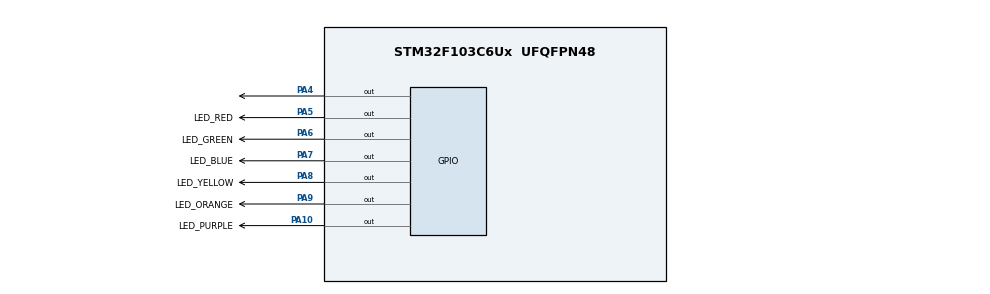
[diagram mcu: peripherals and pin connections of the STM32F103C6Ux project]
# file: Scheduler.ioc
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Mcu.Family=STM32F1
Mcu.Name=STM32F103C6Ux
Mcu.Package=UFQFPN48
NVIC.PriorityGroup=NVIC_PRIORITYGROUP_4
NVIC.TIM2_IRQn=true\:0\:0\:false\:false\:true\:true\:true
PA10.GPIO_Label=LED_PURPLE
PA10.Signal=GPIO_Output
PA4.Signal=GPIO_Output
PA5.GPIO_Label=LED_RED
PA5.Signal=GPIO_Output
PA6.GPIO_Label=LED_GREEN
PA6.Signal=GPIO_Output
PA7.GPIO_Label=LED_BLUE
PA7.Signal=GPIO_Output
PA8.GPIO_Label=LED_YELLOW
PA8.Signal=GPIO_Output
PA9.GPIO_Label=LED_ORANGE
PA9.Signal=GPIO_Output
ProjectManager.HeapSize=0x200
ProjectManager.StackSize=0x400
ProjectManager.TargetToolchain=STM32CubeIDE
RCC.APB1Freq_Value=8000000
RCC.APB2Freq_Value=8000000
TIM2.Period=9
TIM2.Prescaler=7999
VP_SYS_VS_ND.Mode=No_Debug
VP_TIM2_VS_ClockSourceINT.Mode=Internal
board=custom

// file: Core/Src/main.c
/* USER CODE BEGIN Header */
/**
  ******************************************************************************
  * @file           : main.c
  * @brief          : Main program body
  ******************************************************************************
  * @attention
  *
  * <h2><center>&copy; Copyright (c) 2025 STMicroelectronics.
  * All rights reserved.</center></h2>
  *
  * This software component is licensed by ST under BSD 3-Clause license,
  * the "License"; You may not use this file except in compliance with the
  * License. You may obtain a copy of the License at:
  *                        opensource.org/licenses/BSD-3-Clause
  *
  ******************************************************************************
  */
/* USER CODE END Header */
#include "main.h"

/* USER CODE BEGIN Includes */
#include "scheduler.h"
/* USER CODE END Includes */

TIM_HandleTypeDef htim2;

void SystemClock_Config(void);
static void MX_GPIO_Init(void);
static void MX_TIM2_Init(void);

/* USER CODE BEGIN 0 */
void led1test(){
	HAL_GPIO_TogglePin(LED_RED_GPIO_Port, LED_RED_Pin);
}
void led2test(){
	HAL_GPIO_TogglePin(LED_GREEN_GPIO_Port, LED_GREEN_Pin);
}
void led3test(){
	HAL_GPIO_TogglePin(LED_BLUE_GPIO_Port, LED_BLUE_Pin);
}
void led4test(){
	HAL_GPIO_TogglePin(LED_YELLOW_GPIO_Port, LED_YELLOW_Pin);
}
void led5test(){
	HAL_GPIO_TogglePin(LED_ORANGE_GPIO_Port, LED_ORANGE_Pin);
}
void led6test(){
	HAL_GPIO_TogglePin(LED_PURPLE_GPIO_Port, LED_PURPLE_Pin);
}
/* USER CODE END 0 */

int main(void)
{

  /* MCU Configuration--------------------------------------------------------*/

  /* Reset of all peripherals, Initializes the Flash interface and the Systick. */
  HAL_Init();

  /* Configure the system clock */
  SystemClock_Config();

  /* Initialize all configured peripherals */
  MX_GPIO_Init();
  MX_TIM2_Init();
  /* USER CODE BEGIN 2 */
  HAL_TIM_Base_Start_IT(&htim2);
  /* USER CODE END 2 */

  /* Infinite loop */
  /* USER CODE BEGIN WHILE */
  SCH_Add_Task(led1test, 0, 100);
  SCH_Add_Task(led2test, 0, 500);
  SCH_Add_Task(led3test, 100, 1000);
  SCH_Add_Task(led4test, 200, 1500);
  SCH_Add_Task(led5test, 300, 2000);
  SCH_Add_Task(led6test, 400, 2500);

  while (1)
  {
	  SCH_Dispatch_Tasks();
    /* USER CODE END WHILE */

  }
}

void SystemClock_Config(void)
{
  RCC_OscInitTypeDef RCC_OscInitStruct = {0};
  RCC_ClkInitTypeDef RCC_ClkInitStruct = {0};

  /** Initializes the RCC Oscillators according to the specified parameters
  * in the RCC_OscInitTypeDef structure.
  */
  RCC_OscInitStruct.OscillatorType = RCC_OSCILLATORTYPE_HSI;
  RCC_OscInitStruct.HSIState = RCC_HSI_ON;
  RCC_OscInitStruct.HSICalibrationValue = RCC_HSICALIBRATION_DEFAULT;
  RCC_OscInitStruct.PLL.PLLState = RCC_PLL_NONE;
  if (HAL_RCC_OscConfig(&RCC_OscInitStruct) != HAL_OK)
  {
    Error_Handler();
  }
  /** Initializes the CPU, AHB and APB buses clocks
  */
  RCC_ClkInitStruct.ClockType = RCC_CLOCKTYPE_HCLK|RCC_CLOCKTYPE_SYSCLK
                              |RCC_CLOCKTYPE_PCLK1|RCC_CLOCKTYPE_PCLK2;
  RCC_ClkInitStruct.SYSCLKSource = RCC_SYSCLKSOURCE_HSI;
  RCC_ClkInitStruct.AHBCLKDivider = RCC_SYSCLK_DIV1;
  RCC_ClkInitStruct.APB1CLKDivider = RCC_HCLK_DIV1;
  RCC_ClkInitStruct.APB2CLKDivider = RCC_HCLK_DIV1;

  if (HAL_RCC_ClockConfig(&RCC_ClkInitStruct, FLASH_LATENCY_0) != HAL_OK)
  {
    Error_Handler();
  }
}

static void MX_TIM2_Init(void)
{

  TIM_ClockConfigTypeDef sClockSourceConfig = {0};
  TIM_MasterConfigTypeDef sMasterConfig = {0};

  htim2.Instance = TIM2;
  htim2.Init.Prescaler = 7999;
  htim2.Init.CounterMode = TIM_COUNTERMODE_UP;
  htim2.Init.Period = 9;
  htim2.Init.ClockDivision = TIM_CLOCKDIVISION_DIV1;
  htim2.Init.AutoReloadPreload = TIM_AUTORELOAD_PRELOAD_DISABLE;
  if (HAL_TIM_Base_Init(&htim2) != HAL_OK)
  {
    Error_Handler();
  }
  sClockSourceConfig.ClockSource = TIM_CLOCKSOURCE_INTERNAL;
  if (HAL_TIM_ConfigClockSource(&htim2, &sClockSourceConfig) != HAL_OK)
  {
    Error_Handler();
  }
  sMasterConfig.MasterOutputTrigger = TIM_TRGO_RESET;
  sMasterConfig.MasterSlaveMode = TIM_MASTERSLAVEMODE_DISABLE;
  if (HAL_TIMEx_MasterConfigSynchronization(&htim2, &sMasterConfig) != HAL_OK)
  {
    Error_Handler();
  }

}

static void MX_GPIO_Init(void)
{
  GPIO_InitTypeDef GPIO_InitStruct = {0};

  /* GPIO Ports Clock Enable */
  __HAL_RCC_GPIOA_CLK_ENABLE();

  /*Configure GPIO pin Output Level */
  HAL_GPIO_WritePin(GPIOA, GPIO_PIN_4|LED_RED_Pin|LED_GREEN_Pin|LED_BLUE_Pin
                          |LED_YELLOW_Pin|LED_ORANGE_Pin|LED_PURPLE_Pin, GPIO_PIN_RESET);

  /*Configure GPIO pins : PA4 LED_RED_Pin LED_GREEN_Pin LED_BLUE_Pin
                           LED_YELLOW_Pin LED_ORANGE_Pin LED_PURPLE_Pin */
  GPIO_InitStruct.Pin = GPIO_PIN_4|LED_RED_Pin|LED_GREEN_Pin|LED_BLUE_Pin
                          |LED_YELLOW_Pin|LED_ORANGE_Pin|LED_PURPLE_Pin;
  GPIO_InitStruct.Mode = GPIO_MODE_OUTPUT_PP;
  GPIO_InitStruct.Pull = GPIO_NOPULL;
  GPIO_InitStruct.Speed = GPIO_SPEED_FREQ_LOW;
  HAL_GPIO_Init(GPIOA, &GPIO_InitStruct);

}

/* USER CODE BEGIN 4 */
void HAL_TIM_PeriodElapsedCallback(TIM_HandleTypeDef *htim){
	SCH_Update();
}
/* USER CODE END 4 */

void Error_Handler(void)
{
  __disable_irq();
  while (1)
  {
  }
}

/************************ (C) COPYRIGHT STMicroelectronics *****END OF FILE****/
